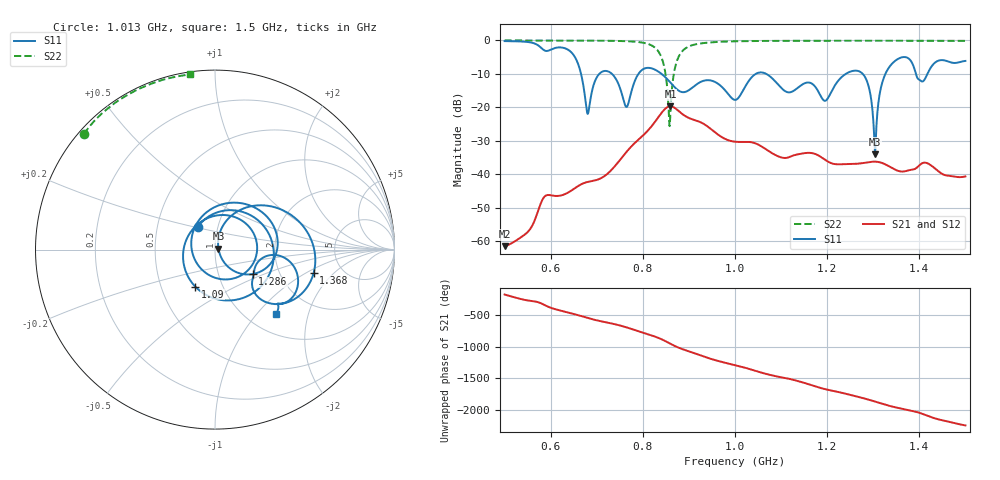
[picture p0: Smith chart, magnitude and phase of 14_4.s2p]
! TOUCHSTONE file generated by CST MICROWAVE STUDIO
! Date and time: Sat Nov 14 20:00:06 2020
! Project name: Scenario_1_Planar_Body_Tissue_Out_of_Line.cst
! Parameters = {dy1=121.1; L_HA=400; Ltissue=700; MT=2.54; Rad_Dielectric=30; Rad_Lower=7.3; Rad_Upper=30; Wtissue=700; a_HA=580; a_WG=246; b_HA=500; b_WG=121; c_HA=0; c_WG=187; d_feed=85; dx1=693; h_feed=15; h_lower=18; h_upper=40; hfat=3; hgap=25; hmuscle=50; hskin=1.5}
! Header version: 2018
! Port assignment regex: !\s*Touchstone port\s*([0-9]+)\s*=\s*(CST MWS port|CST DS port)\s*([0-9]+|Zmin|Zmax)\s*\(\"(.*)\"\)(\s*mode\s*([0-9]+))?.*
! Touchstone port assignment:
! Touchstone port 1 = CST MWS port 1 ("")
! Touchstone port 2 = CST MWS port 2 ("")
# GHz S DB R 50
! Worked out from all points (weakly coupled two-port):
!   1003 points, 500 MHz to 1.5 GHz, reference 50 ohm
!   highest |S21| = -19.68 dB at 860 MHz (marker M1); lowest = -61.4 dB at 500 MHz (marker M2)
!   lowest |S11| = -34.0 dB at 1.304 GHz (marker M3), VSWR 1.04, Z = 52 + j0.504 ohm
!   |S11| at or under -10 dB: 733.1 MHz to 790.4 MHz (57.29 MHz wide, 7.52 % of centre); 840.6 MHz to 1.045 GHz (204.3 MHz wide, 21.7 % of centre); 1.068 GHz to 1.24 GHz (172.4 MHz wide, 14.9 % of centre) (the widest 3 of 6)
!   |S22| runs from -25.6 to 0.0 dB; largest |S21 - S12| = 2.8e-06
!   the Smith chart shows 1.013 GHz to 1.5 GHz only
!   S11 on the Smith chart (normalised r, x): 1.013 GHz: 0.80, +0.21; 1.09 GHz: 0.74, -0.32; 1.286 GHz: 1.46, -0.42; 1.368 GHz: 3.10, -1.18; 1.5 GHz: 1.33, -1.27
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0.5  -0.20 -121.6  -61.45 -174.1  -61.45 -174.1  -0.01 151.2
0.622  -2.09 173.2  -46.31 -69.1  -46.31 -69.1  -0.02 142.4
0.667  -10.65 102.2  -42.91 -157.0  -42.91 -157.0  -0.04 138.4
0.681  -21.85 153.0  -42.24 172.8  -42.24 172.8  -0.05 137.0
0.709  -9.56 162.2  -41.16 124.1  -41.16 124.1  -0.08 133.8
0.764  -19.86 -24.6  -33.37 28.5  -33.37 28.5  -0.23 124.6
0.798  -8.83 162.9  -28.69 -50.8  -28.69 -50.8  -0.63 113.6
0.834  -9.34 61.6  -22.86 -139.9  -22.86 -139.9  -3.34 84.0
0.86  -12.60 -17.5  -19.68 127.6  -19.68 127.6  -21.19 -104.0
0.888  -15.46 -124.4  -22.22 37.8  -22.22 37.8  -2.87 178.4
0.952  -12.13 6.3  -26.94 -120.3  -26.94 -120.3  -0.54 148.5
1  -17.75 -167.0  -30.25 151.0  -30.25 151.0  -0.26 140.2
1.013  -16.01 126.9  -30.32 127.1  -30.32 127.1  -0.23 138.5
1.051  -9.64 -5.8  -31.14 45.4  -31.14 45.4  -0.17 134.3
1.09  -12.63 -118.2  -34.39 -26.7  -34.39 -26.7  -0.13 130.6
1.167  -12.90 -19.4  -33.65 -167.8  -33.65 -167.8  -0.09 124.2
1.232  -10.88 66.1  -36.98 73.0  -36.98 73.0  -0.09 119.2
1.286  -12.04 -33.1  -36.44 -26.9  -36.44 -26.9  -0.08 115.1
1.304  -33.99 14.0  -36.20 -65.7  -36.20 -65.7  -0.09 113.8
1.334  -8.11 37.9  -37.59 -131.2  -37.59 -131.2  -0.09 111.5
1.368  -4.96 -13.3  -39.11 174.4  -39.11 174.4  -0.09 108.9
1.5  -6.13 -46.9  -40.62 -82.6  -40.62 -82.6  -0.13 98.0
